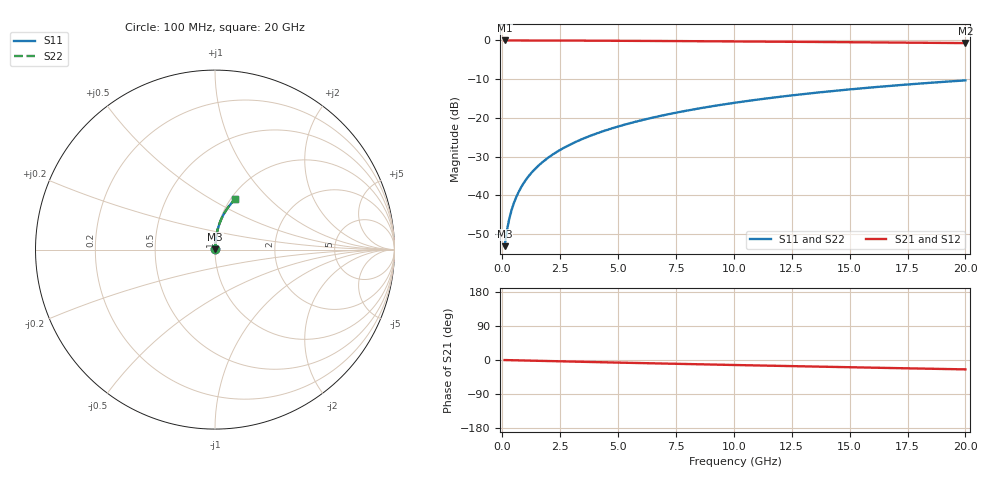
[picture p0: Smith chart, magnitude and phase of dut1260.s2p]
! Touchstone file exported from HFSS 2024.1.0
!  File:  C:/UserFiles/LocalFiles/RDL_TSV_Batchsim/temp_RDL_bottom_1260_1780245789.aedt
!  Generated:  12:46:07 AM Jun  1, 2026
!  Design:  RDL_bottom
!  Project:  temp_RDL_bottom_1260_1780245789
!  Setup:  Setup1
!  Solution:  Sweep
! Variables:
!  dtsv = 10.80580581um
!  hbump = 3um
!  htsv = 52.48um
!  ldown = 288.32um
!  lrdl = 100um
!  p = 40
!  p1 = 55.21um
!  rhole = 1um
!  t = 450um
!  tdown = 4.94um
!  trdl = 3.915915916um
!  wdown = 14.69um
!  wrdl = 20um
# GHz S MA R 50.000000
! Terminal data exported
! Port[1] = RDL1_T1
! Port[2] = RDL1_T2
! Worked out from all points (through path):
!   200 points, 100 MHz to 20 GHz, reference 50 ohm
!   highest |S21| = -0.01 dB at 100 MHz (marker M1); lowest = -0.7 dB at 20 GHz (marker M2)
!   group delay of S21, straight-line fit = 3.42 ps
!   lowest |S11| = -53.2 dB at 100 MHz (marker M3), VSWR 1.00, Z = 50.2 + j0.16 ohm
!   |S11| at or under -10 dB: start of sweep to end of sweep
!   |S22| runs from -53.2 to -10.3 dB; largest |S21 - S12| = 4e-15
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0.1  0.0022 46.4  0.9985 -0.1  0.9985 -0.1  0.0022 46.4
! Gamma 0 0 0 0
! Port Impedance 50 0 50 0
0.2  0.003516 63.6  0.9984 -0.3  0.9984 -0.3  0.003516 63.6
0.3  0.004952 71.0  0.9984 -0.4  0.9984 -0.4  0.004952 71.0
0.4  0.006427 75.2  0.9983 -0.6  0.9983 -0.6  0.006427 75.2
0.5  0.007922 77.8  0.9982 -0.7  0.9982 -0.7  0.007922 77.8
0.7  0.01094 80.8  0.9981 -1.0  0.9981 -1.0  0.01094 80.8
0.8  0.01246 81.7  0.998 -1.1  0.998 -1.1  0.01246 81.7
1  0.01552 83.0  0.9978 -1.4  0.9978 -1.4  0.01552 83.0
1.2  0.01857 83.8  0.9976 -1.7  0.9976 -1.7  0.01857 83.8
1.4  0.02164 84.4  0.9974 -2.0  0.9974 -2.0  0.02164 84.4
1.7  0.02624 84.8  0.997 -2.4  0.997 -2.4  0.02624 84.8
2  0.03084 85.1  0.9965 -2.8  0.9965 -2.8  0.03084 85.1
2.7  0.0416 85.3  0.9952 -3.8  0.9952 -3.8  0.0416 85.3
3.5  0.05394 85.1  0.9934 -4.9  0.9934 -4.9  0.05394 85.1
4.2  0.06477 84.8  0.9915 -5.8  0.9915 -5.8  0.06477 84.8
5  0.07722 84.3  0.989 -6.9  0.989 -6.9  0.07722 84.3
6.8  0.1055 82.8  0.9829 -9.2  0.9829 -9.2  0.1055 82.8
8.3  0.1291 81.4  0.9772 -11.1  0.9772 -11.1  0.1291 81.4
10.1  0.1575 79.5  0.97 -13.3  0.97 -13.3  0.1575 79.5
13.4  0.2087 75.7  0.9556 -17.3  0.9556 -17.3  0.2087 75.7
16.7  0.258 71.8  0.9399 -21.1  0.9399 -21.1  0.258 71.8
20  0.3046 68.0  0.9231 -24.8  0.9231 -24.8  0.3046 68.0
